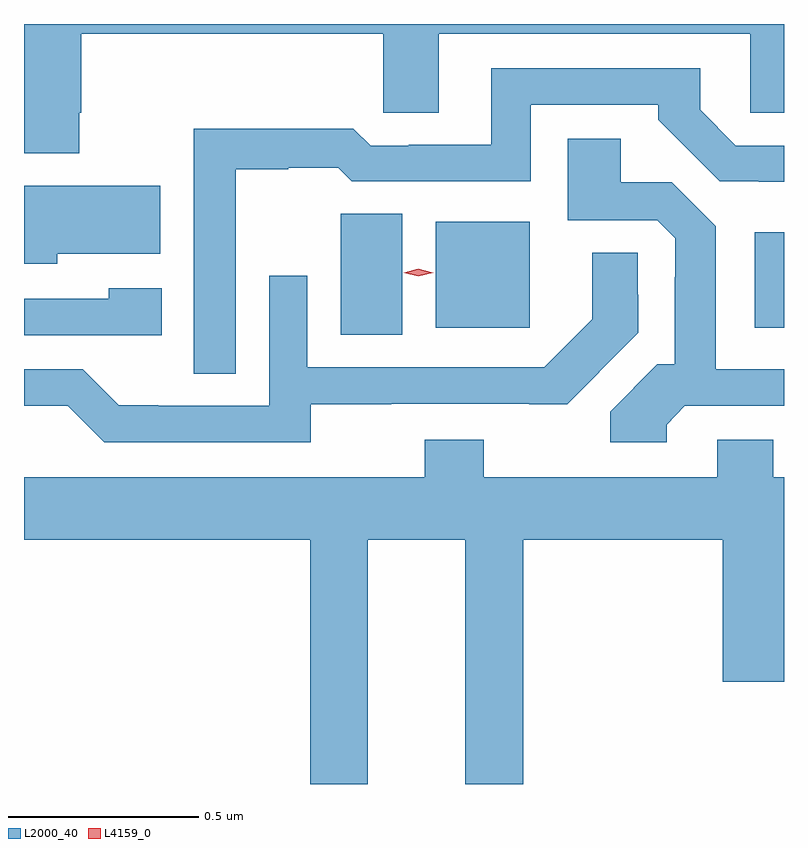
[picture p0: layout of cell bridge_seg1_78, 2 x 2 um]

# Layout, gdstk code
import gdstk
lib = gdstk.Library(unit=1e-6, precision=1e-09)
def R(c, l, rs):  # rectangles x0, y0, x1, y1
    for r in rs: c.add(gdstk.rectangle(r[:2], r[2:], *l))
def P(c, l, *ps):  # polygons
    for p in ps: c.add(gdstk.Polygon(p, *l))
L2000_40 = (2000, 40)
L4159_0 = (4159, 0)

bridge_seg1_78 = lib.new_cell('bridge_seg1_78')
R(bridge_seg1_78, L2000_40, [(535.631,573.583,535.792,573.902), (535.88,573.602,536.128,573.88), (536.72,573.602,536.797,573.853)])
P(bridge_seg1_78, L2000_40, [(534.942,574.168),(534.947,574.168),(534.947,574.376),(535.742,574.376),(535.742,574.168),(535.888,574.168),(535.888,574.376),(536.708,574.376),(536.708,574.168),(536.797,574.168),(536.797,574.401),(534.797,574.401),(534.797,574.061),(534.942,574.061)],
  [(535.354,574.019),(535.493,574.019),(535.493,574.023),(535.624,574.023),(535.66,573.987),(536.131,573.987),(536.131,574.188),(536.466,574.188),(536.466,574.149),(536.628,573.987),(536.731,573.987),(536.731,573.986),(536.797,573.986),(536.797,574.08),(536.67,574.08),(536.576,574.175),(536.576,574.284),(536.027,574.284),(536.027,574.083),(535.81,574.083),(535.81,574.08),(535.71,574.08),(535.664,574.126),(535.244,574.126),(535.244,573.481),(535.354,573.481)],
  [(536.488,573.347),(536.536,573.396),(536.797,573.396),(536.797,573.492),(536.617,573.492),(536.617,573.869),(536.502,573.984),(536.368,573.984),(536.368,574.099),(536.228,574.099),(536.228,573.885),(536.463,573.885),(536.511,573.837),(536.511,573.734),(536.51,573.734),(536.51,573.505),(536.464,573.505),(536.34,573.381),(536.34,573.3),(536.488,573.3)],
  [(534.885,573.797),(535.156,573.797),(535.156,573.976),(534.797,573.976),(534.797,573.77),(534.885,573.77)],
  [(535.552,573.401),(535.763,573.401),(535.763,573.402),(536.126,573.402),(536.126,573.401),(536.227,573.401),(536.311,573.484),(536.31,573.485),(536.413,573.588),(536.413,573.689),(536.412,573.689),(536.412,573.799),(536.292,573.799),(536.292,573.624),(536.166,573.498),(535.543,573.498),(535.543,573.739),(535.442,573.739),(535.442,573.396),(535.15,573.396),(535.15,573.398),(535.046,573.398),(534.951,573.492),(534.797,573.492),(534.797,573.396),(534.912,573.396),(535.008,573.3),(535.552,573.3)],
  [(535.159,573.706),(535.02,573.706),(535.02,573.678),(534.797,573.678),(534.797,573.582),(535.159,573.582)],
  [(536.636,572.67),(536.797,572.67),(536.797,573.208),(536.769,573.208),(536.769,573.307),(536.621,573.307),(536.621,573.208),(536.007,573.208),(536.007,573.307),(535.852,573.307),(535.852,573.208),(534.797,573.208),(534.797,573.044),(535.55,573.044),(535.55,572.401),(535.702,572.401),(535.702,573.044),(535.958,573.044),(535.958,572.401),(536.111,572.401),(536.111,573.044),(536.636,573.044)])
P(bridge_seg1_78, L4159_0, [(535.835,573.737),(535.796,573.747),(535.796,573.747),(535.796,573.747),(535.835,573.757),(535.874,573.747),(535.874,573.747),(535.874,573.747)])

lib.write_gds('bridge_seg1_78.gds')
